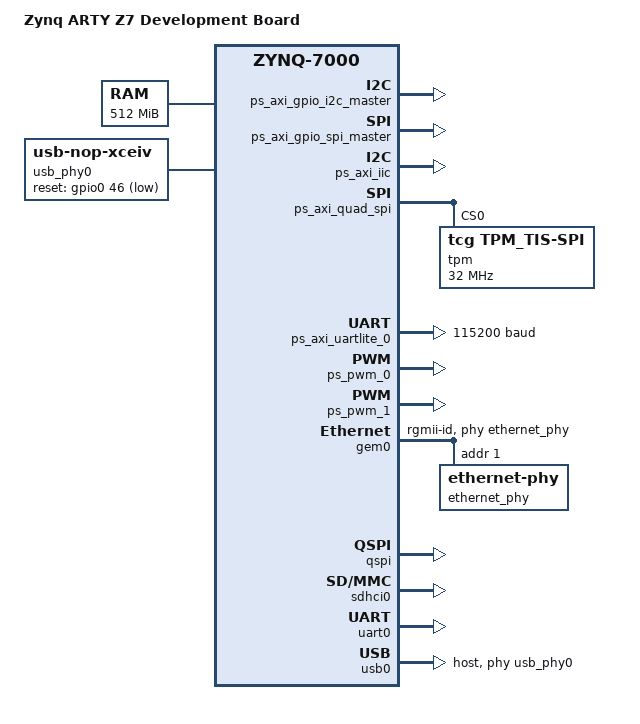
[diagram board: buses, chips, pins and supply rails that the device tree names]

/*
 * Digilent ARTY Z7 board DTS
 *
 *  Copyright (C) 2016 Digilent
 *
 * SPDX-License-Identifier:	GPL-2.0+
 */
/dts-v1/;
#include "zynq-7000.dtsi"

/ {
	amba_pl: amba_pl {
		#address-cells = <1>;
		#size-cells = <1>;
		compatible = "simple-bus";
		ranges ;
		ps_axi_gpio_i2c_master: gpio@41200000 {
			#gpio-cells = <3>;
			clock-names = "s_axi_aclk";
			clocks = <&clkc 15>;
			compatible = "xlnx,axi-gpio-2.0", "xlnx,xps-gpio-1.00.a";
			gpio-controller ;
			reg = <0x41200000 0x10000>;
			xlnx,all-inputs = <0x0>;
			xlnx,all-inputs-2 = <0x0>;
			xlnx,all-outputs = <0x0>;
			xlnx,all-outputs-2 = <0x0>;
			xlnx,dout-default = <0x00000001>;
			xlnx,dout-default-2 = <0x00000000>;
			xlnx,gpio-width = <0x1>;
			xlnx,gpio2-width = <0x1>;
			xlnx,interrupt-present = <0x0>;
			xlnx,is-dual = <0x1>;
			xlnx,tri-default = <0xFFFFFFFE>;
			xlnx,tri-default-2 = <0xFFFFFFFF>;
		};
		ps_axi_gpio_spi_master: gpio@41210000 {
			#gpio-cells = <3>;
			clock-names = "s_axi_aclk";
			clocks = <&clkc 15>;
			compatible = "xlnx,axi-gpio-2.0", "xlnx,xps-gpio-1.00.a";
			gpio-controller ;
			reg = <0x41210000 0x10000>;
			xlnx,all-inputs = <0x0>;
			xlnx,all-inputs-2 = <0x0>;
			xlnx,all-outputs = <0x0>;
			xlnx,all-outputs-2 = <0x0>;
			xlnx,dout-default = <0x00000001>;
			xlnx,dout-default-2 = <0x00000000>;
			xlnx,gpio-width = <0x4>;
			xlnx,gpio2-width = <0x20>;
			xlnx,interrupt-present = <0x0>;
			xlnx,is-dual = <0x0>;
			xlnx,tri-default = <0xFFFFFFF4>;
			xlnx,tri-default-2 = <0xFFFFFFFF>;
		};
		ps_axi_iic: i2c@41600000 {
			#address-cells = <1>;
			#size-cells = <0>;
			clock-names = "s_axi_aclk";
			clocks = <&clkc 15>;
			compatible = "xlnx,axi-iic-2.0", "xlnx,xps-iic-2.00.a";
			interrupt-names = "iic2intc_irpt";
			interrupt-parent = <&intc>;
			interrupts = <0 29 4>;
			reg = <0x41600000 0x10000>;
		};
		ps_axi_quad_spi: axi_quad_spi@41e00000 {
			bits-per-word = <8>;
			clock-names = "ext_spi_clk", "s_axi_aclk";
			clocks = <&clkc 15>, <&clkc 15>;
			compatible = "xlnx,axi-quad-spi-3.2", "xlnx,xps-spi-2.00.a";
			fifo-size = <16>;
			interrupt-names = "ip2intc_irpt";
			interrupt-parent = <&intc>;
			interrupts = <0 30 1>;
			num-cs = <1>;
			reg = <0x41e00000 0x10000>;
			xlnx,num-ss-bits = <0x1>;
			xlnx,spi-mode = <0>;
		};
		ps_axi_uartlite_0: serial@42c00000 {
			clock-names = "s_axi_aclk";
			clocks = <&clkc 15>;
			compatible = "xlnx,axi-uartlite-2.0", "xlnx,xps-uartlite-1.00.a";
			current-speed = <115200>;
			device_type = "serial";
			interrupt-names = "interrupt";
			interrupt-parent = <&intc>;
			interrupts = <0 31 1>;
			port-number = <1>;
			reg = <0x42c00000 0x10000>;
			xlnx,baudrate = <0x1c200>;
			xlnx,data-bits = <0x8>;
			xlnx,odd-parity = <0x0>;
			xlnx,s-axi-aclk-freq-hz-d = "100.0";
			xlnx,use-parity = <0x0>;
		};
		ps_pwm_0: PWM@43c00000 {
			/* This is a place holder node for a custom IP, user may need to update the entries */
			clock-names = "pwm_axi_aclk";
			clocks = <&clkc 15>;
			compatible = "xlnx,PWM-2.0";
			reg = <0x43c00000 0x10000>;
			xlnx,pwm-axi-addr-width = <0x7>;
			xlnx,pwm-axi-data-width = <0x20>;
		};
		ps_pwm_1: PWM@43c10000 {
			/* This is a place holder node for a custom IP, user may need to update the entries */
			clock-names = "pwm_axi_aclk";
			clocks = <&clkc 15>;
			compatible = "xlnx,PWM-2.0";
			reg = <0x43c10000 0x10000>;
			xlnx,pwm-axi-addr-width = <0x7>;
			xlnx,pwm-axi-data-width = <0x20>;
		};
	};
};


/ {
	model = "Zynq ARTY Z7 Development Board";
	compatible = "digilent,zynq-artyz7", "xlnx,zynq-7000";

	aliases {
		ethernet0 = &gem0;
		serial0 = &uart0;
		spi0 = &qspi;
                spi1 = &ps_axi_quad_spi;
		mmc0 = &sdhci0;
	};

	memory@0 {
		device_type = "memory";
		reg = <0x0 0x20000000>;
	};

	chosen {
		bootargs = "";
		stdout-path = "serial0:115200n8";
	};

	usb_phy0: phy0 {
		#phy-cells = <0>;
		compatible = "usb-nop-xceiv";
		reset-gpios = <&gpio0 46 1>;
	};
};

&clkc {
	ps-clk-frequency = <50000000>;
};

&gem0 {
	status = "okay";
	phy-mode = "rgmii-id";
	phy-handle = <&ethernet_phy>;

	ethernet_phy: ethernet-phy@0 { /* rtl8211e-vl */
		reg = <1>;
		device_type = "ethernet-phy";
	};
};

&qspi {
	u-boot,dm-pre-reloc;
	status = "okay";
};

&sdhci0 {
	u-boot,dm-pre-reloc;
	status = "okay";
};

&uart0 {
	u-boot,dm-pre-reloc;
	status = "okay";
};

&usb0 {
	status = "okay";
	dr_mode = "host";
	usb-phy = <&usb_phy0>;
};


&ps_axi_quad_spi {
	status = "okay";
	tpm@0 {
		compatible = "tcg,tpm_tis-spi";
		 #address-cells = <1>;
		 #size-cells = <0>;
		spi-max-frequency = <32000000>;
		reg = <0>;
		status = "okay";
	};        

};
